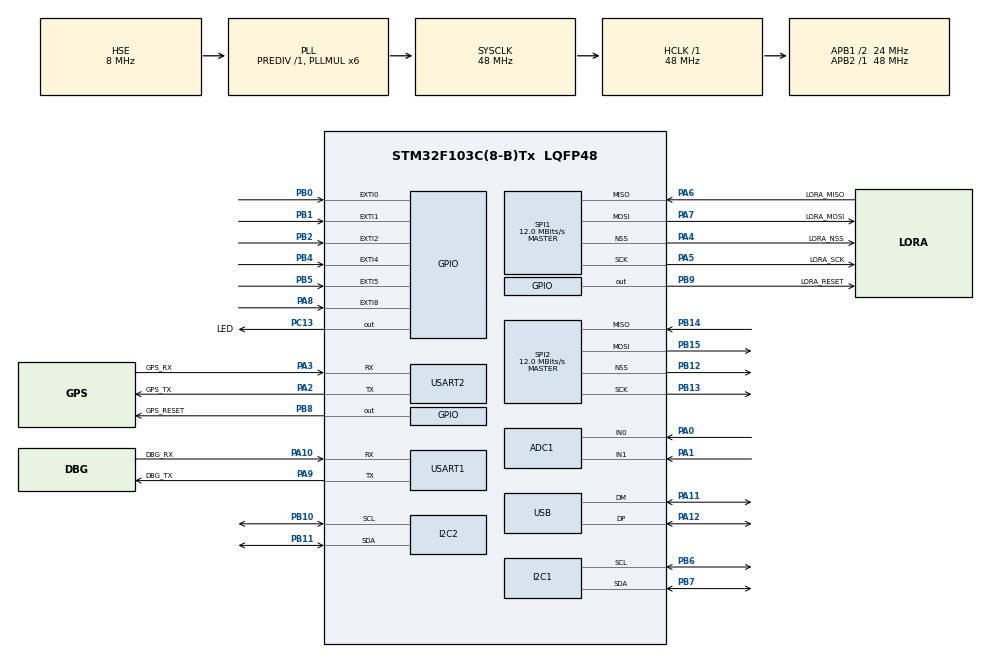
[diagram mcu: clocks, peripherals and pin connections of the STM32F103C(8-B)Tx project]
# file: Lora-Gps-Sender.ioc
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ADC1.Channel-0\#ChannelRegularConversion=ADC_CHANNEL_0
ADC1.ContinuousConvMode=DISABLE
ADC1.DataAlign=ADC_DATAALIGN_RIGHT
ADC1.DiscontinuousConvMode=DISABLE
ADC1.EnableAnalogWatchDog=false
ADC1.EnableRegularConversion=ENABLE
ADC1.ExternalTrigConv=ADC_SOFTWARE_START
ADC1.InjNumberOfConversion=0
ADC1.NbrOfConversion=1
ADC1.NbrOfConversionFlag=1
ADC1.Rank-0\#ChannelRegularConversion=1
ADC1.SamplingTime-0\#ChannelRegularConversion=ADC_SAMPLETIME_1CYCLE_5
ADC1.ScanConvMode=ADC_SCAN_DISABLE
ADC1.master=1
Mcu.Family=STM32F1
Mcu.Name=STM32F103C(8-B)Tx
Mcu.Package=LQFP48
NVIC.PriorityGroup=NVIC_PRIORITYGROUP_4
NVIC.TIM4_IRQn=true\:0\:0\:false\:false\:true\:true
NVIC.USART1_IRQn=true\:0\:0\:false\:false\:true\:true
NVIC.USART2_IRQn=true\:0\:0\:false\:false\:true\:true
PA0-WKUP.Signal=ADCx_IN0
PA1.Signal=ADCx_IN1
PA10.GPIO_Label=DBG_RX
PA10.Mode=Asynchronous
PA10.Signal=USART1_RX
PA11.Mode=Device
PA11.Signal=USB_DM
PA12.Mode=Device
PA12.Signal=USB_DP
PA13.Mode=Trace_Asynchronous_SW
PA13.Signal=SYS_JTMS-SWDIO
PA14.Mode=Trace_Asynchronous_SW
PA14.Signal=SYS_JTCK-SWCLK
PA2.GPIO_Label=GPS_TX
PA2.Mode=Asynchronous
PA2.Signal=USART2_TX
PA3.GPIO_Label=GPS_RX
PA3.Mode=Asynchronous
PA3.Signal=USART2_RX
PA4.GPIO_Label=LORA_NSS
PA4.Mode=NSS_Signal_Hard_Output
PA4.Signal=SPI1_NSS
PA5.GPIO_Label=LORA_SCK
PA5.Mode=Full_Duplex_Master
PA5.Signal=SPI1_SCK
PA6.GPIO_Label=LORA_MISO
PA6.Mode=Full_Duplex_Master
PA6.Signal=SPI1_MISO
PA7.GPIO_Label=LORA_MOSI
PA7.Mode=Full_Duplex_Master
PA7.Signal=SPI1_MOSI
PA8.Signal=GPXTI8
PA9.GPIO_Label=DBG_TX
PA9.Mode=Asynchronous
PA9.Signal=USART1_TX
PB0.Signal=GPXTI0
PB1.Signal=GPXTI1
PB10.Mode=I2C
PB10.Signal=I2C2_SCL
PB11.Mode=I2C
PB11.Signal=I2C2_SDA
PB12.Mode=NSS_Signal_Hard_Output
PB12.Signal=SPI2_NSS
PB13.Mode=Full_Duplex_Master
PB13.Signal=SPI2_SCK
PB14.Mode=Full_Duplex_Master
PB14.Signal=SPI2_MISO
PB15.Mode=Full_Duplex_Master
PB15.Signal=SPI2_MOSI
PB2.Signal=GPXTI2
PB3.Mode=Trace_Asynchronous_SW
PB3.Signal=SYS_JTDO-TRACESWO
PB4.Signal=GPXTI4
PB5.Signal=GPXTI5
PB6.Mode=I2C
PB6.Signal=I2C1_SCL
PB7.Mode=I2C
PB7.Signal=I2C1_SDA
PB8.GPIO_Label=GPS_RESET
PB8.Signal=GPIO_Output
PB9.GPIO_Label=LORA_RESET
PB9.Signal=GPIO_Output
PC13-TAMPER-RTC.GPIO_Label=LED
PC13-TAMPER-RTC.Signal=GPIO_Output
PC14-OSC32_IN.Mode=LSE-External-Oscillator
PC14-OSC32_IN.Signal=RCC_OSC32_IN
PC15-OSC32_OUT.Mode=LSE-External-Oscillator
PC15-OSC32_OUT.Signal=RCC_OSC32_OUT
PD0-OSC_IN.Mode=HSE-External-Oscillator
PD0-OSC_IN.Signal=RCC_OSC_IN
PD1-OSC_OUT.Mode=HSE-External-Oscillator
PD1-OSC_OUT.Signal=RCC_OSC_OUT
ProjectManager.HeapSize=0x200
ProjectManager.StackSize=0x400
ProjectManager.TargetToolchain=Makefile
RCC.ADCPresc=RCC_ADCPCLK2_DIV4
RCC.AHBFreq_Value=48000000
RCC.APB1CLKDivider=RCC_HCLK_DIV2
RCC.APB1Freq_Value=24000000
RCC.APB1TimFreq_Value=48000000
RCC.APB2Freq_Value=48000000
RCC.APB2TimFreq_Value=48000000
RCC.HCLKFreq_Value=48000000
RCC.PLLMUL=RCC_PLL_MUL6
RCC.RTCClockSelection=RCC_RTCCLKSOURCE_LSE
RCC.SYSCLKFreq_VALUE=48000000
RCC.SYSCLKSource=RCC_SYSCLKSOURCE_PLLCLK
RCC.USBFreq_Value=48000000
SH.ADCx_IN0.0=ADC1_IN0,IN0
SH.ADCx_IN1.0=ADC1_IN1,IN1
SPI1.BaudRatePrescaler=SPI_BAUDRATEPRESCALER_4
SPI1.CalculateBaudRate=12.0 MBits/s
SPI1.Direction=SPI_DIRECTION_2LINES
SPI1.Mode=SPI_MODE_MASTER
SPI1.VirtualNSS=VM_NSSHARD
SPI1.VirtualType=VM_MASTER
SPI2.CalculateBaudRate=12.0 MBits/s
SPI2.Direction=SPI_DIRECTION_2LINES
SPI2.Mode=SPI_MODE_MASTER
SPI2.VirtualNSS=VM_NSSHARD
SPI2.VirtualType=VM_MASTER
TIM4.AutoReloadPreload=TIM_AUTORELOAD_PRELOAD_ENABLE
TIM4.Period=1000
TIM4.Prescaler=48
USART1.VirtualMode=VM_ASYNC
USART2.VirtualMode=VM_ASYNC
VP_RTC_VS_RTC_Activate.Mode=RTC_Enabled
VP_RTC_VS_RTC_Calendar.Mode=RTC_Calendar
VP_TIM4_VS_ClockSourceINT.Mode=Internal
board=Lora-Gps-Sender

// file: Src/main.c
/**
  ******************************************************************************
  * File Name          : main.c
  * Description        : Main program body
  ******************************************************************************
  ** This notice applies to any and all portions of this file
  * that are not between comment pairs USER CODE BEGIN and
  * USER CODE END. Other portions of this file, whether
  * inserted by the user or by software development tools
  * are owned by their respective copyright owners.
  *
  * COPYRIGHT(c) 2018 STMicroelectronics
  *
  * Redistribution and use in source and binary forms, with or without modification,
  * are permitted provided that the following conditions are met:
  *   1. Redistributions of source code must retain the above copyright notice,
  *      this list of conditions and the following disclaimer.
  *   2. Redistributions in binary form must reproduce the above copyright notice,
  *      this list of conditions and the following disclaimer in the documentation
  *      and/or other materials provided with the distribution.
  *   3. Neither the name of STMicroelectronics nor the names of its contributors
  *      may be used to endorse or promote products derived from this software
  *      without specific prior written permission.
  *
  * THIS SOFTWARE IS PROVIDED BY THE COPYRIGHT HOLDERS AND CONTRIBUTORS "AS IS"
  * AND ANY EXPRESS OR IMPLIED WARRANTIES, INCLUDING, BUT NOT LIMITED TO, THE
  * IMPLIED WARRANTIES OF MERCHANTABILITY AND FITNESS FOR A PARTICULAR PURPOSE ARE
  * DISCLAIMED. IN NO EVENT SHALL THE COPYRIGHT HOLDER OR CONTRIBUTORS BE LIABLE
  * FOR ANY DIRECT, INDIRECT, INCIDENTAL, SPECIAL, EXEMPLARY, OR CONSEQUENTIAL
  * DAMAGES (INCLUDING, BUT NOT LIMITED TO, PROCUREMENT OF SUBSTITUTE GOODS OR
  * SERVICES; LOSS OF USE, DATA, OR PROFITS; OR BUSINESS INTERRUPTION) HOWEVER
  * CAUSED AND ON ANY THEORY OF LIABILITY, WHETHER IN CONTRACT, STRICT LIABILITY,
  * OR TORT (INCLUDING NEGLIGENCE OR OTHERWISE) ARISING IN ANY WAY OUT OF THE USE
  * OF THIS SOFTWARE, EVEN IF ADVISED OF THE POSSIBILITY OF SUCH DAMAGE.
  *
  ******************************************************************************
  */

#include "main.h"
#include "stm32f1xx_hal.h"

/* USER CODE BEGIN Includes */
#include <string.h>

/* USER CODE END Includes */

ADC_HandleTypeDef hadc1;

I2C_HandleTypeDef hi2c1;
I2C_HandleTypeDef hi2c2;

RTC_HandleTypeDef hrtc;

SPI_HandleTypeDef hspi1;
SPI_HandleTypeDef hspi2;

TIM_HandleTypeDef htim4;

UART_HandleTypeDef huart1;
UART_HandleTypeDef huart2;

PCD_HandleTypeDef hpcd_USB_FS;

/* USER CODE BEGIN PV */
/* Private variables ---------------------------------------------------------*/
#define MSG_START_LEN 9
uint8_t MsgStart[] = "\r\nStart\r\n";
#define MSG_BUF_OVF_LEN 18
uint8_t MsgBufOvf[] = "Buffer Overflow!\r\n";
#define MSG_NO_GGA_LEN 15
uint8_t MsgNoGga[] = "No GGA found!\r\n";
#define MSG_NO_LEN_LEN 15
uint8_t MsgNoLen[] = "No Len found!\r\n";

#define CONVERT_SIZE sizeof(uint32_t)*2+2
uint8_t Convert[CONVERT_SIZE];
#define DBG_RX_BUF_SIZE 10
uint8_t DbgRxBuf[DBG_RX_BUF_SIZE];

#define  GPS_RX_BUF_SIZE 256
uint8_t  GpsRxBuf[GPS_RX_BUF_SIZE];
uint32_t GpsRxBufCnt;
uint8_t  GpsRxDone;
uint8_t  GpsGgaStr[] = "GGA";
uint8_t  *GpsGgaStart;
uint32_t GpsGgaLen;
uint8_t  GpsEndOfLine[] = "\r\n\0";

#define TX_BUF_SIZE 100
uint8_t TxBuf[TX_BUF_SIZE];
uint8_t TxBufCnt = 0;

struct GgaData {
	uint8_t Time[11];
	uint8_t LatVal[9];
	uint8_t LatHem[1];
	uint8_t LonVal[10];
	uint8_t LonHem[1];
	uint8_t Fix[1];
	uint8_t Sats[2];
	uint8_t Hdop[5];
	uint8_t Alt[5];
	uint8_t AltM[1];
	uint8_t Height[5];
	uint8_t HeightM[1];
} gga;

/* USER CODE END PV */

void SystemClock_Config(void);
static void MX_GPIO_Init(void);
static void MX_SPI1_Init(void);
static void MX_USART1_UART_Init(void);
static void MX_USART2_UART_Init(void);
static void MX_USB_PCD_Init(void);
static void MX_I2C1_Init(void);
static void MX_I2C2_Init(void);
static void MX_ADC1_Init(void);
static void MX_SPI2_Init(void);
static void MX_RTC_Init(void);
static void MX_TIM4_Init(void);

/* USER CODE BEGIN PFP */
/* Private function prototypes -----------------------------------------------*/

/* USER CODE END PFP */

/* USER CODE BEGIN 0 */

/* functions */

void PrintInt(UART_HandleTypeDef *huart, uint32_t IntToPrint) {
	uint32_t nibble;
    for(uint32_t i=0; i<sizeof(uint32_t)*2; i++) {
        nibble = IntToPrint % 16;
        if (nibble < 10) {
            nibble += 0x30;
        } else {
            nibble +=0x37;
        }
        Convert[sizeof(uint32_t)*2-1-i] = nibble;
        IntToPrint = IntToPrint / 16;
        Convert[sizeof(uint32_t)*2  ]='\r';
        Convert[sizeof(uint32_t)*2+1]='\n';
    }
    HAL_UART_Transmit_IT(huart, Convert, CONVERT_SIZE);
}

uint16_t CopyToComma(uint8_t* CopyFrom, uint8_t* CopyTo) {
	uint16_t Counter = 0;
	while(1){
		if(*CopyFrom == ',') {
			*CopyTo = '\0';
			CopyFrom++;
			Counter++;
			break;
		} else {
			*CopyTo = *CopyFrom;
			CopyTo++;
			CopyFrom++;
			Counter++;
		}
	}
	return Counter;
}

/* callbacks */

void HAL_UART_RxCpltCallback(UART_HandleTypeDef *huart) {
	/* GPS UART RX */
	if (huart == &huart2) {
		/* reset timer counter to prevent reaching reload value */
		__HAL_TIM_SET_COUNTER(&htim4, 0);
		HAL_UART_Receive_IT(&huart2, GpsRxBuf+GpsRxBufCnt, 1);
		if (GpsRxBufCnt < GPS_RX_BUF_SIZE) {
		    GpsRxBufCnt++;
		} else {
			HAL_UART_Transmit_IT(&huart1, MsgBufOvf, MSG_BUF_OVF_LEN);
		}
	}
	/* Debug UART RX */
	if (huart == &huart1) {
		HAL_UART_Transmit_IT(&huart1, DbgRxBuf, 1);
		HAL_UART_Receive_IT(&huart1, DbgRxBuf, 1);
	}

}

void HAL_TIM_PeriodElapsedCallback(TIM_HandleTypeDef *htim) {
	if (htim == &htim4) {
		/*	silence is long enough to consider NMEA msg completed */
		if (GpsRxBufCnt != 0) {
			/* Abort ongoing receive from GPS */
			HAL_UART_AbortReceive_IT(&huart2);
			/* we got smth in buffer and should handle it */
			GpsRxDone = 1;
		}
	}

}

/* USER CODE END 0 */

int main(void)
{

  /* MCU Configuration----------------------------------------------------------*/

  /* Reset of all peripherals, Initializes the Flash interface and the Systick. */
  HAL_Init();

  /* Configure the system clock */
  SystemClock_Config();

  /* Initialize all configured peripherals */
  MX_GPIO_Init();
  MX_SPI1_Init();
  MX_USART1_UART_Init();
  MX_USART2_UART_Init();
  MX_USB_PCD_Init();
  MX_I2C1_Init();
  MX_I2C2_Init();
  MX_ADC1_Init();
  MX_SPI2_Init();
  MX_RTC_Init();
  MX_TIM4_Init();

  /* USER CODE BEGIN 2 */

	HAL_UART_Transmit(&huart1, MsgStart, MSG_START_LEN, 100);

	/*
	Start receiving debug input char by char
	just for test
	*/
	HAL_UART_Receive_IT(&huart1, DbgRxBuf, 1);

	/*
   	Start receiving NMEA char by char
   	Next char rx called in callback
   	*/
	GpsRxBufCnt = 0;
	GpsRxDone = 0;
  	HAL_UART_Receive_IT(&huart2, GpsRxBuf, 1);

	/*
	Start timer 4 to get event
	after rx timeout
	*/
	HAL_TIM_Base_Start_IT(&htim4);

  /* USER CODE END 2 */

  /* Infinite loop */
  /* USER CODE BEGIN WHILE */
  while (1)
  {

    /* GPIO */
    HAL_GPIO_WritePin(LED_GPIO_Port, LED_Pin, GPIO_PIN_RESET);
    HAL_GPIO_TogglePin(GPS_RESET_GPIO_Port, GPS_RESET_Pin);
    HAL_Delay(100);
    HAL_GPIO_WritePin(LED_GPIO_Port, LED_Pin, GPIO_PIN_SET);
    HAL_GPIO_TogglePin(GPS_RESET_GPIO_Port, GPS_RESET_Pin);
    HAL_Delay(100);

	/* GPS Rx Done */
	if(GpsRxDone) {
		GpsRxDone = 0;
		GpsRxBuf[GpsRxBufCnt++]='<';
		GpsRxBuf[GpsRxBufCnt++]='\r';
		GpsRxBuf[GpsRxBufCnt++]='\n';
		GpsRxBuf[GpsRxBufCnt++]='\0';
		//HAL_UART_Transmit_IT(&huart1, GpsRxBuf, GpsRxBufCnt-1);
		GpsRxBufCnt = 0;
		/* Restart aborted receive from buffer start */
		HAL_UART_Receive_IT(&huart2, GpsRxBuf, 1);

		GpsGgaStart = (uint8_t*) strstr((char*) GpsRxBuf, (char*) GpsGgaStr);
		if(GpsGgaStart == NULL) {
			// Failed to find GGA substring
            HAL_UART_Transmit_IT(&huart1, MsgNoGga, MSG_NO_GGA_LEN);
		} else {
			GpsGgaStart += 4;	//skip GGA,
			GpsGgaLen = ((uint8_t*) strstr((char*) GpsRxBuf, (char*) GpsEndOfLine)) - GpsGgaStart + 1;
			if(GpsGgaLen > GPS_RX_BUF_SIZE) {
				// Failed to calculate len
				HAL_UART_Transmit_IT(&huart1, MsgNoLen, MSG_NO_LEN_LEN);
			} else {
				// OK
				//HAL_UART_Transmit_IT(&huart1, GpsGgaStart, GpsGgaLen);
				uint16_t GgaOffset = 0;
				GgaOffset += CopyToComma(GpsGgaStart+GgaOffset, gga.Time);
				GgaOffset += CopyToComma(GpsGgaStart+GgaOffset, gga.LatVal);
				GgaOffset += CopyToComma(GpsGgaStart+GgaOffset, gga.LatHem);

				TxBufCnt = 0;
				TxBufCnt += sprintf((char*)(TxBuf+TxBufCnt),"\r\n");
				TxBufCnt += sprintf((char*)(TxBuf+TxBufCnt),"Time:\t%s\r\n",   gga.Time);
				TxBufCnt += sprintf((char*)(TxBuf+TxBufCnt),"LatVal:\t%s\r\n", gga.LatVal);
				TxBufCnt += sprintf((char*)(TxBuf+TxBufCnt),"LatHem:\t%s\r\n", gga.LatHem);

				HAL_UART_Transmit_IT(&huart1, TxBuf, TxBufCnt);

			}
		}
	}

  /* USER CODE END WHILE */

  }

}

/** System Clock Configuration
*/
void SystemClock_Config(void)
{

  RCC_OscInitTypeDef RCC_OscInitStruct;
  RCC_ClkInitTypeDef RCC_ClkInitStruct;
  RCC_PeriphCLKInitTypeDef PeriphClkInit;

    /**Initializes the CPU, AHB and APB busses clocks
    */
  RCC_OscInitStruct.OscillatorType = RCC_OSCILLATORTYPE_HSE|RCC_OSCILLATORTYPE_LSE;
  RCC_OscInitStruct.HSEState = RCC_HSE_ON;
  RCC_OscInitStruct.HSEPredivValue = RCC_HSE_PREDIV_DIV1;
  RCC_OscInitStruct.LSEState = RCC_LSE_ON;
  RCC_OscInitStruct.HSIState = RCC_HSI_ON;
  RCC_OscInitStruct.PLL.PLLState = RCC_PLL_ON;
  RCC_OscInitStruct.PLL.PLLSource = RCC_PLLSOURCE_HSE;
  RCC_OscInitStruct.PLL.PLLMUL = RCC_PLL_MUL6;
  if (HAL_RCC_OscConfig(&RCC_OscInitStruct) != HAL_OK)
  {
    _Error_Handler(__FILE__, __LINE__);
  }

    /**Initializes the CPU, AHB and APB busses clocks
    */
  RCC_ClkInitStruct.ClockType = RCC_CLOCKTYPE_HCLK|RCC_CLOCKTYPE_SYSCLK
                              |RCC_CLOCKTYPE_PCLK1|RCC_CLOCKTYPE_PCLK2;
  RCC_ClkInitStruct.SYSCLKSource = RCC_SYSCLKSOURCE_PLLCLK;
  RCC_ClkInitStruct.AHBCLKDivider = RCC_SYSCLK_DIV1;
  RCC_ClkInitStruct.APB1CLKDivider = RCC_HCLK_DIV2;
  RCC_ClkInitStruct.APB2CLKDivider = RCC_HCLK_DIV1;

  if (HAL_RCC_ClockConfig(&RCC_ClkInitStruct, FLASH_LATENCY_1) != HAL_OK)
  {
    _Error_Handler(__FILE__, __LINE__);
  }

  PeriphClkInit.PeriphClockSelection = RCC_PERIPHCLK_RTC|RCC_PERIPHCLK_ADC
                              |RCC_PERIPHCLK_USB;
  PeriphClkInit.RTCClockSelection = RCC_RTCCLKSOURCE_LSE;
  PeriphClkInit.AdcClockSelection = RCC_ADCPCLK2_DIV4;
  PeriphClkInit.UsbClockSelection = RCC_USBCLKSOURCE_PLL;
  if (HAL_RCCEx_PeriphCLKConfig(&PeriphClkInit) != HAL_OK)
  {
    _Error_Handler(__FILE__, __LINE__);
  }

    /**Configure the Systick interrupt time
    */
  HAL_SYSTICK_Config(HAL_RCC_GetHCLKFreq()/1000);

    /**Configure the Systick
    */
  HAL_SYSTICK_CLKSourceConfig(SYSTICK_CLKSOURCE_HCLK);

  /* SysTick_IRQn interrupt configuration */
  HAL_NVIC_SetPriority(SysTick_IRQn, 0, 0);
}

/* ADC1 init function */
static void MX_ADC1_Init(void)
{

  ADC_ChannelConfTypeDef sConfig;

    /**Common config
    */
  hadc1.Instance = ADC1;
  hadc1.Init.ScanConvMode = ADC_SCAN_DISABLE;
  hadc1.Init.ContinuousConvMode = DISABLE;
  hadc1.Init.DiscontinuousConvMode = DISABLE;
  hadc1.Init.ExternalTrigConv = ADC_SOFTWARE_START;
  hadc1.Init.DataAlign = ADC_DATAALIGN_RIGHT;
  hadc1.Init.NbrOfConversion = 1;
  if (HAL_ADC_Init(&hadc1) != HAL_OK)
  {
    _Error_Handler(__FILE__, __LINE__);
  }

    /**Configure Regular Channel
    */
  sConfig.Channel = ADC_CHANNEL_0;
  sConfig.Rank = 1;
  sConfig.SamplingTime = ADC_SAMPLETIME_1CYCLE_5;
  if (HAL_ADC_ConfigChannel(&hadc1, &sConfig) != HAL_OK)
  {
    _Error_Handler(__FILE__, __LINE__);
  }

}

/* I2C1 init function */
static void MX_I2C1_Init(void)
{

  hi2c1.Instance = I2C1;
  hi2c1.Init.ClockSpeed = 100000;
  hi2c1.Init.DutyCycle = I2C_DUTYCYCLE_2;
  hi2c1.Init.OwnAddress1 = 0;
  hi2c1.Init.AddressingMode = I2C_ADDRESSINGMODE_7BIT;
  hi2c1.Init.DualAddressMode = I2C_DUALADDRESS_DISABLE;
  hi2c1.Init.OwnAddress2 = 0;
  hi2c1.Init.GeneralCallMode = I2C_GENERALCALL_DISABLE;
  hi2c1.Init.NoStretchMode = I2C_NOSTRETCH_DISABLE;
  if (HAL_I2C_Init(&hi2c1) != HAL_OK)
  {
    _Error_Handler(__FILE__, __LINE__);
  }

}

/* I2C2 init function */
static void MX_I2C2_Init(void)
{

  hi2c2.Instance = I2C2;
  hi2c2.Init.ClockSpeed = 100000;
  hi2c2.Init.DutyCycle = I2C_DUTYCYCLE_2;
  hi2c2.Init.OwnAddress1 = 0;
  hi2c2.Init.AddressingMode = I2C_ADDRESSINGMODE_7BIT;
  hi2c2.Init.DualAddressMode = I2C_DUALADDRESS_DISABLE;
  hi2c2.Init.OwnAddress2 = 0;
  hi2c2.Init.GeneralCallMode = I2C_GENERALCALL_DISABLE;
  hi2c2.Init.NoStretchMode = I2C_NOSTRETCH_DISABLE;
  if (HAL_I2C_Init(&hi2c2) != HAL_OK)
  {
    _Error_Handler(__FILE__, __LINE__);
  }

}

/* RTC init function */
static void MX_RTC_Init(void)
{

  RTC_TimeTypeDef sTime;
  RTC_DateTypeDef DateToUpdate;

    /**Initialize RTC Only
    */
  hrtc.Instance = RTC;
  hrtc.Init.AsynchPrediv = RTC_AUTO_1_SECOND;
  hrtc.Init.OutPut = RTC_OUTPUTSOURCE_ALARM;
  if (HAL_RTC_Init(&hrtc) != HAL_OK)
  {
    _Error_Handler(__FILE__, __LINE__);
  }

    /**Initialize RTC and set the Time and Date
    */
  if(HAL_RTCEx_BKUPRead(&hrtc, RTC_BKP_DR1) != 0x32F2){
  sTime.Hours = 0x1;
  sTime.Minutes = 0x0;
  sTime.Seconds = 0x0;

  if (HAL_RTC_SetTime(&hrtc, &sTime, RTC_FORMAT_BCD) != HAL_OK)
  {
    _Error_Handler(__FILE__, __LINE__);
  }

  DateToUpdate.WeekDay = RTC_WEEKDAY_MONDAY;
  DateToUpdate.Month = RTC_MONTH_JANUARY;
  DateToUpdate.Date = 0x1;
  DateToUpdate.Year = 0x0;

  if (HAL_RTC_SetDate(&hrtc, &DateToUpdate, RTC_FORMAT_BCD) != HAL_OK)
  {
    _Error_Handler(__FILE__, __LINE__);
  }

    HAL_RTCEx_BKUPWrite(&hrtc,RTC_BKP_DR1,0x32F2);
  }

}

/* SPI1 init function */
static void MX_SPI1_Init(void)
{

  /* SPI1 parameter configuration*/
  hspi1.Instance = SPI1;
  hspi1.Init.Mode = SPI_MODE_MASTER;
  hspi1.Init.Direction = SPI_DIRECTION_2LINES;
  hspi1.Init.DataSize = SPI_DATASIZE_8BIT;
  hspi1.Init.CLKPolarity = SPI_POLARITY_LOW;
  hspi1.Init.CLKPhase = SPI_PHASE_1EDGE;
  hspi1.Init.NSS = SPI_NSS_HARD_OUTPUT;
  hspi1.Init.BaudRatePrescaler = SPI_BAUDRATEPRESCALER_4;
  hspi1.Init.FirstBit = SPI_FIRSTBIT_MSB;
  hspi1.Init.TIMode = SPI_TIMODE_DISABLE;
  hspi1.Init.CRCCalculation = SPI_CRCCALCULATION_DISABLE;
  hspi1.Init.CRCPolynomial = 10;
  if (HAL_SPI_Init(&hspi1) != HAL_OK)
  {
    _Error_Handler(__FILE__, __LINE__);
  }

}

/* SPI2 init function */
static void MX_SPI2_Init(void)
{

  /* SPI2 parameter configuration*/
  hspi2.Instance = SPI2;
  hspi2.Init.Mode = SPI_MODE_MASTER;
  hspi2.Init.Direction = SPI_DIRECTION_2LINES;
  hspi2.Init.DataSize = SPI_DATASIZE_8BIT;
  hspi2.Init.CLKPolarity = SPI_POLARITY_LOW;
  hspi2.Init.CLKPhase = SPI_PHASE_1EDGE;
  hspi2.Init.NSS = SPI_NSS_HARD_OUTPUT;
  hspi2.Init.BaudRatePrescaler = SPI_BAUDRATEPRESCALER_2;
  hspi2.Init.FirstBit = SPI_FIRSTBIT_MSB;
  hspi2.Init.TIMode = SPI_TIMODE_DISABLE;
  hspi2.Init.CRCCalculation = SPI_CRCCALCULATION_DISABLE;
  hspi2.Init.CRCPolynomial = 10;
  if (HAL_SPI_Init(&hspi2) != HAL_OK)
  {
    _Error_Handler(__FILE__, __LINE__);
  }

}

/* TIM4 init function */
static void MX_TIM4_Init(void)
{

  TIM_ClockConfigTypeDef sClockSourceConfig;
  TIM_MasterConfigTypeDef sMasterConfig;

  htim4.Instance = TIM4;
  htim4.Init.Prescaler = 48;
  htim4.Init.CounterMode = TIM_COUNTERMODE_UP;
  htim4.Init.Period = 10000;
  htim4.Init.ClockDivision = TIM_CLOCKDIVISION_DIV1;
  htim4.Init.AutoReloadPreload = TIM_AUTORELOAD_PRELOAD_ENABLE;
  if (HAL_TIM_Base_Init(&htim4) != HAL_OK)
  {
    _Error_Handler(__FILE__, __LINE__);
  }

  sClockSourceConfig.ClockSource = TIM_CLOCKSOURCE_INTERNAL;
  if (HAL_TIM_ConfigClockSource(&htim4, &sClockSourceConfig) != HAL_OK)
  {
    _Error_Handler(__FILE__, __LINE__);
  }

  sMasterConfig.MasterOutputTrigger = TIM_TRGO_RESET;
  sMasterConfig.MasterSlaveMode = TIM_MASTERSLAVEMODE_DISABLE;
  if (HAL_TIMEx_MasterConfigSynchronization(&htim4, &sMasterConfig) != HAL_OK)
  {
    _Error_Handler(__FILE__, __LINE__);
  }

}

/* USART1 init function */
static void MX_USART1_UART_Init(void)
{

  huart1.Instance = USART1;
  huart1.Init.BaudRate = 115200;
  huart1.Init.WordLength = UART_WORDLENGTH_8B;
  huart1.Init.StopBits = UART_STOPBITS_1;
  huart1.Init.Parity = UART_PARITY_NONE;
  huart1.Init.Mode = UART_MODE_TX_RX;
  huart1.Init.HwFlowCtl = UART_HWCONTROL_NONE;
  huart1.Init.OverSampling = UART_OVERSAMPLING_16;
  if (HAL_UART_Init(&huart1) != HAL_OK)
  {
    _Error_Handler(__FILE__, __LINE__);
  }

}

/* USART2 init function */
static void MX_USART2_UART_Init(void)
{

  huart2.Instance = USART2;
  huart2.Init.BaudRate = 115200;
  huart2.Init.WordLength = UART_WORDLENGTH_8B;
  huart2.Init.StopBits = UART_STOPBITS_1;
  huart2.Init.Parity = UART_PARITY_NONE;
  huart2.Init.Mode = UART_MODE_TX_RX;
  huart2.Init.HwFlowCtl = UART_HWCONTROL_NONE;
  huart2.Init.OverSampling = UART_OVERSAMPLING_16;
  if (HAL_UART_Init(&huart2) != HAL_OK)
  {
    _Error_Handler(__FILE__, __LINE__);
  }

}

/* USB init function */
static void MX_USB_PCD_Init(void)
{

  hpcd_USB_FS.Instance = USB;
  hpcd_USB_FS.Init.dev_endpoints = 8;
  hpcd_USB_FS.Init.speed = PCD_SPEED_FULL;
  hpcd_USB_FS.Init.ep0_mps = DEP0CTL_MPS_8;
  hpcd_USB_FS.Init.low_power_enable = DISABLE;
  hpcd_USB_FS.Init.lpm_enable = DISABLE;
  hpcd_USB_FS.Init.battery_charging_enable = DISABLE;
  if (HAL_PCD_Init(&hpcd_USB_FS) != HAL_OK)
  {
    _Error_Handler(__FILE__, __LINE__);
  }

}

/** Configure pins as
        * Analog
        * Input
        * Output
        * EVENT_OUT
        * EXTI
        * Free pins are configured automatically as Analog (this feature is enabled through
        * the Code Generation settings)
*/
static void MX_GPIO_Init(void)
{

  GPIO_InitTypeDef GPIO_InitStruct;

  /* GPIO Ports Clock Enable */
  __HAL_RCC_GPIOC_CLK_ENABLE();
  __HAL_RCC_GPIOD_CLK_ENABLE();
  __HAL_RCC_GPIOA_CLK_ENABLE();
  __HAL_RCC_GPIOB_CLK_ENABLE();

  /*Configure GPIO pin Output Level */
  HAL_GPIO_WritePin(LED_GPIO_Port, LED_Pin, GPIO_PIN_RESET);

  /*Configure GPIO pin Output Level */
  HAL_GPIO_WritePin(GPIOB, GPS_RESET_Pin|LORA_RESET_Pin, GPIO_PIN_RESET);

  /*Configure GPIO pin : LED_Pin */
  GPIO_InitStruct.Pin = LED_Pin;
  GPIO_InitStruct.Mode = GPIO_MODE_OUTPUT_PP;
  GPIO_InitStruct.Speed = GPIO_SPEED_FREQ_LOW;
  HAL_GPIO_Init(LED_GPIO_Port, &GPIO_InitStruct);

  /*Configure GPIO pins : PB0 PB1 PB2 PB4
                           PB5 */
  GPIO_InitStruct.Pin = GPIO_PIN_0|GPIO_PIN_1|GPIO_PIN_2|GPIO_PIN_4
                          |GPIO_PIN_5;
  GPIO_InitStruct.Mode = GPIO_MODE_IT_RISING;
  GPIO_InitStruct.Pull = GPIO_NOPULL;
  HAL_GPIO_Init(GPIOB, &GPIO_InitStruct);

  /*Configure GPIO pin : PA8 */
  GPIO_InitStruct.Pin = GPIO_PIN_8;
  GPIO_InitStruct.Mode = GPIO_MODE_IT_RISING;
  GPIO_InitStruct.Pull = GPIO_NOPULL;
  HAL_GPIO_Init(GPIOA, &GPIO_InitStruct);

  /*Configure GPIO pin : PA15 */
  GPIO_InitStruct.Pin = GPIO_PIN_15;
  GPIO_InitStruct.Mode = GPIO_MODE_ANALOG;
  HAL_GPIO_Init(GPIOA, &GPIO_InitStruct);

  /*Configure GPIO pins : GPS_RESET_Pin LORA_RESET_Pin */
  GPIO_InitStruct.Pin = GPS_RESET_Pin|LORA_RESET_Pin;
  GPIO_InitStruct.Mode = GPIO_MODE_OUTPUT_PP;
  GPIO_InitStruct.Speed = GPIO_SPEED_FREQ_LOW;
  HAL_GPIO_Init(GPIOB, &GPIO_InitStruct);

}

void _Error_Handler(char * file, int line)
{
  while(1)
  {
  }
}

/************************ (C) COPYRIGHT STMicroelectronics *****END OF FILE****/
